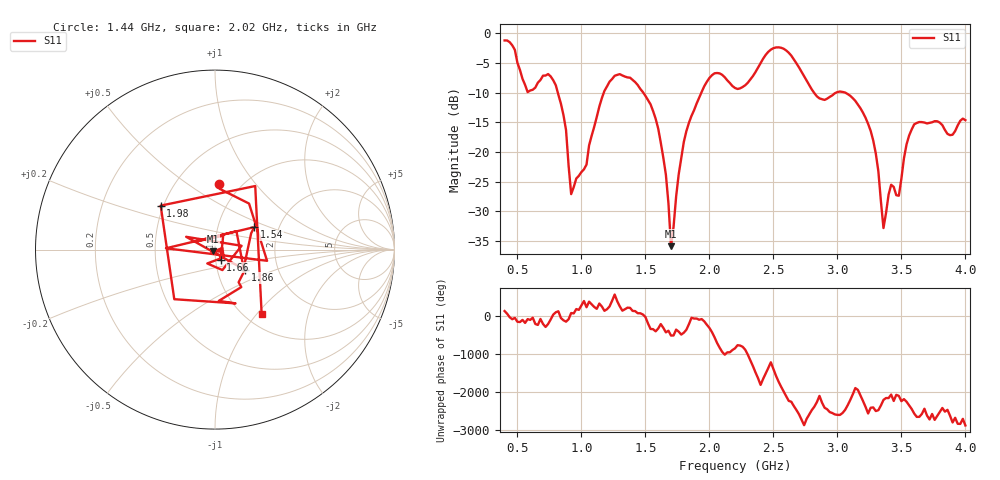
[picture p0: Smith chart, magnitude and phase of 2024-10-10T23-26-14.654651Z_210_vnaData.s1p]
! Created with skrf (http://scikit-rf.org).
# Hz S RI R 50.0
!freq ReS11 ImS11
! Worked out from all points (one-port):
!   181 points, 400 MHz to 4 GHz, reference 50 ohm
!   lowest |S11| = -35.8 dB at 1.7 GHz (marker M1), VSWR 1.03, Z = 48.7 - j0.882 ohm
!   |S11| at or under -10 dB: 815.3 MHz to 1.175 GHz (360.1 MHz wide, 36.2 % of centre); 1.483 GHz to 1.937 GHz (455 MHz wide, 26.6 % of centre); 3.06 GHz to end of sweep (the widest 3 of 4)
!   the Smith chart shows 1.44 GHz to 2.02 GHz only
!   S11 on the Smith chart (normalised r, x): 1.44 GHz: 0.80, +0.67; 1.54 GHz: 1.50, +0.40; 1.66 GHz: 1.06, -0.12; 1.86 GHz: 1.36, -0.32; 1.98 GHz: 0.48, +0.28; 2.02 GHz: 1.19, -1.06
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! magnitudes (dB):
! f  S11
! 400 MHz  -1.2
! 480 MHz  -2.8
! 580 MHz  -9.9
! 760 MHz  -7.3
! 860 MHz  -13.8
! 920 MHz  -27.1
! 1.04 GHz  -22.1
! 1.18 GHz  -9.7
! 1.3 GHz  -6.9
! 1.44 GHz  -8.7
! 1.54 GHz  -12.0
! 1.66 GHz  -23.8
! 1.7 GHz  -35.8
! 1.76 GHz  -23.8
! 1.86 GHz  -13.9
! 1.98 GHz  -8.2
! 2.02 GHz  -7.1
! 2.2 GHz  -9.2
! 2.5 GHz  -2.5
! 2.66 GHz  -4.4
! 2.86 GHz  -11.0
! 3.1 GHz  -10.5
! 3.28 GHz  -18.1
! 3.36 GHz  -32.8
! 3.42 GHz  -25.5
! 3.48 GHz  -27.4
! 3.56 GHz  -17.3
! 4 GHz  -14.6
